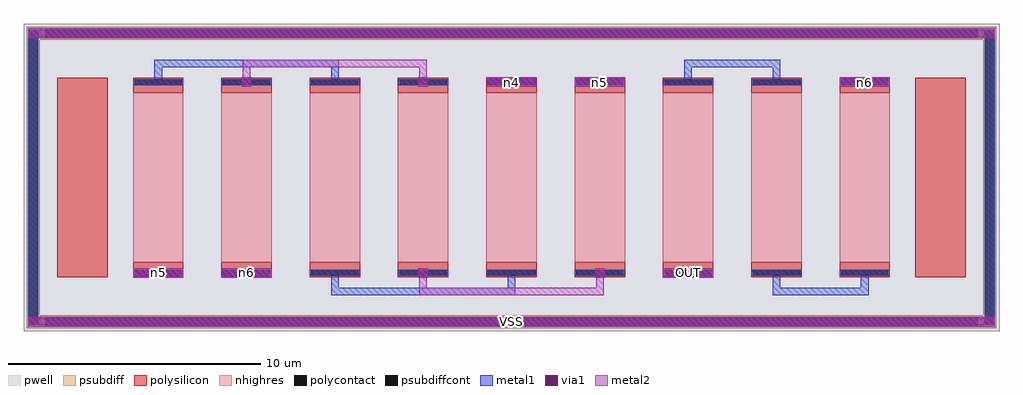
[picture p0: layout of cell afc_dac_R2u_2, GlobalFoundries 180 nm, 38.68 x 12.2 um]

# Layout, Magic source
magic
tech gf180mcuD
magscale 1 10
<< pwell >>
rect -1068 -464 6668 1976
<< psubdiff >>
rect -1044 -440 6644 -336
rect -1044 1848 6644 1952
rect -1044 -336 -940 1848
rect 6540 -336 6644 1848
<< polysilicon >>
rect -200 1426 200 1548
rect -200 -36 200 86
rect 1200 1426 1600 1548
rect 1200 -36 1600 86
rect 2600 1426 3000 1548
rect 2600 -36 3000 86
rect 500 1426 900 1548
rect 500 -36 900 86
rect 1900 1426 2300 1548
rect 1900 -36 2300 86
rect 3300 1426 3700 1548
rect 3300 -36 3700 86
rect 4000 1426 4400 1548
rect 4000 -36 4400 86
rect 4700 1426 5100 1548
rect 4700 -36 5100 86
rect 5400 1426 5800 1548
rect 5400 -36 5800 86
rect -800 -36 -400 1548
rect 6000 -36 6400 1548
<< nhighres >>
rect -200 86 200 1426
rect 1200 86 1600 1426
rect 2600 86 3000 1426
rect 500 86 900 1426
rect 1900 86 2300 1426
rect 3300 86 3700 1426
rect 4000 86 4400 1426
rect 4700 86 5100 1426
rect 5400 86 5800 1426
<< psubdiffcont >>
rect -1031 -416 -953 1928
rect 6553 -416 6631 1928
rect -893 1861 6493 1939
rect -893 -427 6493 -349
<< polycontact >>
rect -187 1489 187 1535
rect -187 -23 187 23
rect 1213 1489 1587 1535
rect 1213 -23 1587 23
rect 2613 1489 2987 1535
rect 2613 -23 2987 23
rect 513 1489 887 1535
rect 513 -23 887 23
rect 1913 1489 2287 1535
rect 1913 -23 2287 23
rect 3313 1489 3687 1535
rect 3313 -23 3687 23
rect 4013 1489 4387 1535
rect 4013 -23 4387 23
rect 4713 1489 5087 1535
rect 4713 -23 5087 23
rect 5413 1489 5787 1535
rect 5413 -23 5787 23
<< metal1 >>
rect -198 1489 198 1535
rect -198 -23 198 23
rect 1202 1489 1598 1535
rect 1202 -23 1598 23
rect 2602 1489 2998 1535
rect 2602 -23 2998 23
rect 502 1489 898 1535
rect 502 -23 898 23
rect 1902 1489 2298 1535
rect 1902 -23 2298 23
rect 3302 1489 3698 1535
rect 3302 -23 3698 23
rect 4002 1489 4398 1535
rect 4002 -23 4398 23
rect 4702 1489 5098 1535
rect 4702 -23 5098 23
rect 5402 1489 5798 1535
rect 5402 -23 5798 23
rect -198 -38 198 38
rect -30 1489 30 1688
rect 1370 1489 1430 1688
rect -30 1628 1430 1688
rect 1370 -176 1430 23
rect 2770 -176 2830 23
rect 1370 -176 2830 -116
rect 2602 1474 2998 1550
rect 502 -38 898 38
rect 662 1474 738 1550
rect 2062 1474 2138 1550
rect 2062 -38 2138 38
rect 3462 -38 3538 38
rect 3302 1474 3698 1550
rect 4002 -38 4398 38
rect 4170 1489 4230 1688
rect 4870 1489 4930 1688
rect 4170 1628 4930 1688
rect 4870 -176 4930 23
rect 5570 -176 5630 23
rect 4870 -176 5630 -116
rect 5402 1474 5798 1550
rect -1031 -427 6631 -349
rect -1031 1861 6631 1939
rect -1031 -427 -953 1939
rect 6553 -427 6631 1939
rect -1031 -427 6631 -349
rect -1031 1861 6631 1939
<< metal2 >>
rect -198 -38 198 38
rect 2602 1474 2998 1550
rect 502 -38 898 38
rect 662 1474 738 1550
rect 670 1512 730 1688
rect 2062 1474 2138 1550
rect 2070 1512 2130 1688
rect 670 1628 2130 1688
rect 2062 -38 2138 38
rect 2070 -176 2130 0
rect 3462 -38 3538 38
rect 3470 -176 3530 0
rect 2070 -176 3530 -116
rect 3302 1474 3698 1550
rect 4002 -38 4398 38
rect 5402 1474 5798 1550
rect -1031 -427 6631 -349
rect -1031 1861 6631 1939
<< via1 >>
rect -186 -26 186 26
rect 2614 1486 2986 1538
rect 514 -26 886 26
rect 674 1486 726 1538
rect 2074 1486 2126 1538
rect 2074 -26 2126 26
rect 3474 -26 3526 26
rect 3314 1486 3686 1538
rect 4014 -26 4386 26
rect 5414 1486 5786 1538
rect -1019 -415 6619 -361
rect -1019 1873 6619 1927
<< labels >>
flabel metal2 s -198 -38 198 38 0 FreeSans 80 0 0 0 n5
port 1 nsew signal bidirectional
flabel metal2 s 2602 1474 2998 1550 0 FreeSans 80 0 0 0 n4
port 2 nsew signal bidirectional
flabel metal2 s 502 -38 898 38 0 FreeSans 80 0 0 0 n6
port 3 nsew signal bidirectional
flabel metal2 s 3302 1474 3698 1550 0 FreeSans 80 0 0 0 n5
port 1 nsew signal bidirectional
flabel metal2 s 4002 -38 4398 38 0 FreeSans 80 0 0 0 OUT
port 4 nsew signal bidirectional
flabel metal2 s 5402 1474 5798 1550 0 FreeSans 80 0 0 0 n6
port 3 nsew signal bidirectional
flabel metal2 s -1031 -427 6631 -349 0 FreeSans 80 0 0 0 VSS
port 5 nsew signal bidirectional
<< end >>
